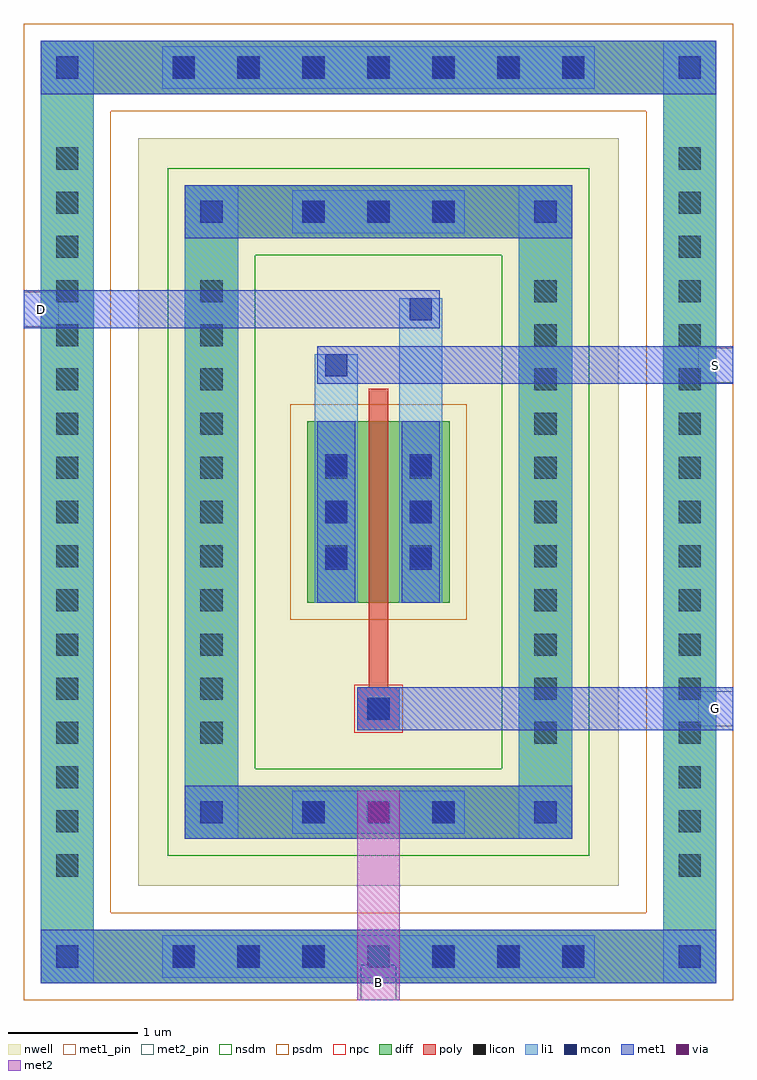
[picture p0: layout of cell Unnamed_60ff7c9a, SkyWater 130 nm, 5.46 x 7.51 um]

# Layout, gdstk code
import gdstk
lib = gdstk.Library(unit=1e-6, precision=5e-09)
def R(c, l, rs):  # rectangles x0, y0, x1, y1
    for r in rs: c.add(gdstk.rectangle(r[:2], r[2:], *l))
def A(c, l, x, y, w, h, nx, ny, dx, dy):  # array of equal rectangles
    R(c, l, [(x+i*dx, y+j*dy, x+i*dx+w, y+j*dy+h) for i in range(nx) for j in range(ny)])
def P(c, l, *ps):  # polygons
    for p in ps: c.add(gdstk.Polygon(p, *l))
nwell = (64, 20)
diff = (65, 20)
poly = (66, 20)
licon = (66, 44)
li1 = (67, 20)
mcon = (67, 44)
met1_pin = (68, 16)
met1 = (68, 20)
via = (68, 44)
met2_pin = (69, 16)
met2 = (69, 20)
nsdm = (93, 44)
psdm = (94, 20)
npc = (95, 20)

unnamed_60ff7c9a = lib.new_cell('Unnamed_60ff7c9a')
R(unnamed_60ff7c9a, nwell, [(-1.85,-2.875,1.85,2.875), (-1.67,-2.695,1.67,2.695)])
A(unnamed_60ff7c9a, diff, -1.705, -3.625, 0.41, 0.41, 7, 2, 0.5, 6.84)
A(unnamed_60ff7c9a, diff, -2.6, -2.925, 0.41, 0.41, 1, 17, 0, 0.34)
A(unnamed_60ff7c9a, diff, 2.19, -2.925, 0.41, 0.41, 1, 17, 0, 0.34)
A(unnamed_60ff7c9a, diff, -0.705, -2.515, 0.41, 0.41, 3, 2, 0.5, 4.62)
A(unnamed_60ff7c9a, diff, -1.49, -1.905, 0.41, 0.41, 1, 11, 0, 0.34)
A(unnamed_60ff7c9a, diff, 1.08, -1.905, 0.41, 0.41, 1, 11, 0, 0.34)
R(unnamed_60ff7c9a, diff, [(-1.705,-3.625,1.705,-3.215), (-2.6,-2.925,-2.19,2.925), (2.19,-2.925,2.6,2.925), (-0.705,-2.515,0.705,-2.105), (-1.49,-1.905,-1.08,1.905), (1.08,-1.905,1.49,1.905), (-0.55,-0.7,0.55,0.7), (-0.705,2.105,0.705,2.515), (-1.705,3.215,1.705,3.625)])
P(unnamed_60ff7c9a, diff, [(2.6,3.625),(-2.6,3.625),(-2.6,-3.215),(-2.19,-3.215),(-2.19,3.215),(2.19,3.215),(2.19,-3.215),(-2.19,-3.215),(-2.6,-3.215),(-2.6,-3.625),(2.6,-3.625)],
  [(1.49,2.515),(-1.49,2.515),(-1.49,-2.105),(-1.08,-2.105),(-1.08,2.105),(1.08,2.105),(1.08,-2.105),(-1.08,-2.105),(-1.49,-2.105),(-1.49,-2.515),(1.49,-2.515)])
R(unnamed_60ff7c9a, poly, [(-0.165,-1.68,0.165,-1.35), (-0.165,-1.68,0.165,-1.35), (-0.075,-1.35,0.075,-0.95), (-0.075,-0.95,0.075,0.95)])
A(unnamed_60ff7c9a, licon, -1.585, -3.505, 0.17, 0.17, 7, 2, 0.5, 6.84)
A(unnamed_60ff7c9a, licon, -2.48, -2.805, 0.17, 0.17, 1, 17, 0, 0.34)
A(unnamed_60ff7c9a, licon, 2.31, -2.805, 0.17, 0.17, 1, 17, 0, 0.34)
A(unnamed_60ff7c9a, licon, -0.585, -2.395, 0.17, 0.17, 3, 2, 0.5, 4.62)
A(unnamed_60ff7c9a, licon, -1.37, -1.785, 0.17, 0.17, 1, 11, 0, 0.34)
A(unnamed_60ff7c9a, licon, 1.2, -1.785, 0.17, 0.17, 1, 11, 0, 0.34)
A(unnamed_60ff7c9a, licon, -0.41, -0.425, 0.17, 0.17, 1, 3, 0, 0.34)
A(unnamed_60ff7c9a, licon, 0.24, -0.425, 0.17, 0.17, 1, 3, 0, 0.34)
R(unnamed_60ff7c9a, licon, [(-0.085,-1.6,0.085,-1.43)])
A(unnamed_60ff7c9a, li1, -1.665, -3.585, 0.33, 0.33, 7, 2, 0.5, 6.84)
A(unnamed_60ff7c9a, li1, -2.56, -2.885, 0.33, 0.33, 1, 17, 0, 0.34)
A(unnamed_60ff7c9a, li1, 2.23, -2.885, 0.33, 0.33, 1, 17, 0, 0.34)
A(unnamed_60ff7c9a, li1, -0.665, -2.475, 0.33, 0.33, 3, 2, 0.5, 4.62)
A(unnamed_60ff7c9a, li1, -1.45, -1.865, 0.33, 0.33, 1, 11, 0, 0.34)
A(unnamed_60ff7c9a, li1, 1.12, -1.865, 0.33, 0.33, 1, 11, 0, 0.34)
A(unnamed_60ff7c9a, li1, -0.49, -0.505, 0.33, 0.33, 1, 3, 0, 0.34)
A(unnamed_60ff7c9a, li1, 0.16, -0.505, 0.33, 0.33, 1, 3, 0, 0.34)
A(unnamed_60ff7c9a, li1, -0.41, -0.445, 0.17, 0.17, 1, 3, 0, 0.36)
A(unnamed_60ff7c9a, li1, 0.24, -0.445, 0.17, 0.17, 1, 3, 0, 0.36)
R(unnamed_60ff7c9a, li1, [(-2.6,-3.625,-2.19,-3.215), (2.19,-3.625,2.6,-3.215), (-1.665,-3.585,1.665,-3.255), (-2.48,-3.505,-2.31,-3.335), (-2.48,-3.505,-2.31,-3.335), (2.31,-3.505,2.48,-3.335), (2.31,-3.505,2.48,-3.335), (-2.6,-3.215,-2.19,3.215), (2.19,-3.215,2.6,3.215), (-1.49,-2.515,-1.08,-2.105), (1.08,-2.515,1.49,-2.105), (-0.665,-2.475,0.665,-2.145), (-1.37,-2.395,-1.2,-2.225), (-1.37,-2.395,-1.2,-2.225), (1.2,-2.395,1.37,-2.225), (1.2,-2.395,1.37,-2.225), (-1.49,-2.105,-1.08,2.105), (1.08,-2.105,1.49,2.105), (-0.165,-1.68,0.165,-1.35), (-0.49,-0.7,-0.16,0.7), (0.16,-0.7,0.49,0.7), (-0.41,-0.445,-0.24,0.445), (0.24,-0.445,0.41,0.445), (-0.49,0.7,-0.16,1.215), (0.16,0.7,0.49,1.645), (-0.41,1.045,-0.24,1.215), (0.24,1.475,0.41,1.645), (-1.49,2.105,-1.08,2.515), (1.08,2.105,1.49,2.515), (-0.665,2.145,0.665,2.475), (-1.37,2.225,-1.2,2.395), (-1.37,2.225,-1.2,2.395), (1.2,2.225,1.37,2.395), (1.2,2.225,1.37,2.395), (-2.6,3.215,-2.19,3.625), (2.19,3.215,2.6,3.625), (-1.665,3.255,1.665,3.585), (-2.48,3.335,-2.31,3.505), (-2.48,3.335,-2.31,3.505), (2.31,3.335,2.48,3.505), (2.31,3.335,2.48,3.505)])
A(unnamed_60ff7c9a, mcon, -1.585, -3.505, 0.17, 0.17, 7, 2, 0.5, 6.84)
A(unnamed_60ff7c9a, mcon, -0.585, -2.395, 0.17, 0.17, 3, 2, 0.5, 4.62)
A(unnamed_60ff7c9a, mcon, -0.41, -0.445, 0.17, 0.17, 1, 3, 0, 0.36)
A(unnamed_60ff7c9a, mcon, 0.24, -0.445, 0.17, 0.17, 1, 3, 0, 0.36)
R(unnamed_60ff7c9a, mcon, [(-2.48,-3.505,-2.31,-3.335), (2.31,-3.505,2.48,-3.335), (-1.37,-2.395,-1.2,-2.225), (1.2,-2.395,1.37,-2.225), (-0.085,-1.6,0.085,-1.43), (-0.41,1.045,-0.24,1.215), (0.24,1.475,0.41,1.645), (-1.37,2.225,-1.2,2.395), (1.2,2.225,1.37,2.395), (-2.48,3.335,-2.31,3.505), (2.31,3.335,2.48,3.505)])
R(unnamed_60ff7c9a, met1_pin, [(2.46,-1.65,2.73,-1.38), (2.46,0.995,2.73,1.265), (-2.73,1.425,-2.46,1.695)])
A(unnamed_60ff7c9a, met1, -1.645, -3.565, 0.29, 0.29, 7, 2, 0.5, 6.84)
A(unnamed_60ff7c9a, met1, -0.645, -2.455, 0.29, 0.29, 3, 2, 0.5, 4.62)
A(unnamed_60ff7c9a, met1, -0.47, -0.505, 0.29, 0.29, 1, 3, 0, 0.36)
A(unnamed_60ff7c9a, met1, 0.18, -0.505, 0.29, 0.29, 1, 3, 0, 0.36)
R(unnamed_60ff7c9a, met1, [(-2.6,-3.625,-2.19,-3.215), (-2.6,-3.625,-2.19,-3.215), (-2.19,-3.625,2.19,-3.215), (2.19,-3.625,2.6,-3.215), (2.19,-3.625,2.6,-3.215), (-2.54,-3.565,-2.25,-3.275), (2.25,-3.565,2.54,-3.275), (-1.49,-2.515,-1.08,-2.105), (-1.49,-2.515,-1.08,-2.105), (-1.08,-2.515,1.08,-2.105), (1.08,-2.515,1.49,-2.105), (1.08,-2.515,1.49,-2.105), (-1.43,-2.455,-1.14,-2.165), (1.14,-2.455,1.43,-2.165), (-0.165,-1.68,0.165,-1.35), (0.165,-1.68,2.73,-1.35), (-0.145,-1.66,0.145,-1.37), (-0.47,-0.7,-0.18,0.7), (0.18,-0.7,0.47,0.7), (-0.47,0.985,-0.18,1.275), (-0.47,0.985,0.47,1.275), (0.47,0.985,2.73,1.275), (-2.73,1.415,-0.47,1.705), (-0.47,1.415,0.47,1.705), (0.18,1.415,0.47,1.705), (-1.49,2.105,-1.08,2.515), (-1.49,2.105,-1.08,2.515), (-1.08,2.105,1.08,2.515), (1.08,2.105,1.49,2.515), (1.08,2.105,1.49,2.515), (-1.43,2.165,-1.14,2.455), (1.14,2.165,1.43,2.455), (-2.6,3.215,-2.19,3.625), (-2.6,3.215,-2.19,3.625), (-2.19,3.215,2.19,3.625), (2.19,3.215,2.6,3.625), (2.19,3.215,2.6,3.625), (-2.54,3.275,-2.25,3.565), (2.25,3.275,2.54,3.565)])
R(unnamed_60ff7c9a, via, [(-0.075,-2.385,0.075,-2.235)])
R(unnamed_60ff7c9a, met2_pin, [(-0.135,-3.755,0.135,-3.485)])
R(unnamed_60ff7c9a, met2, [(-0.165,-3.755,0.165,-2.145), (-0.165,-2.475,0.165,-2.145)])
P(unnamed_60ff7c9a, nsdm, [(1.62,2.645),(-1.62,2.645),(-1.62,-1.975),(-0.95,-1.975),(-0.95,1.975),(0.95,1.975),(0.95,-1.975),(-0.95,-1.975),(-1.62,-1.975),(-1.62,-2.645),(1.62,-2.645)])
R(unnamed_60ff7c9a, psdm, [(-0.68,-0.83,0.68,0.83)])
P(unnamed_60ff7c9a, psdm, [(2.73,3.755),(-2.73,3.755),(-2.73,-3.085),(-2.06,-3.085),(-2.06,3.085),(2.06,3.085),(2.06,-3.085),(-2.06,-3.085),(-2.73,-3.085),(-2.73,-3.755),(2.73,-3.755)])
R(unnamed_60ff7c9a, npc, [(-0.185,-1.7,0.185,-1.33), (-0.185,-1.7,0.185,-1.33)])
unnamed_60ff7c9a.add(gdstk.Label('D', (-2.595,1.56), layer=68, texttype=5))
unnamed_60ff7c9a.add(gdstk.Label('S', (2.595,1.13), layer=68, texttype=5))
unnamed_60ff7c9a.add(gdstk.Label('G', (2.595,-1.515), layer=68, texttype=5))
unnamed_60ff7c9a.add(gdstk.Label('B', (0,-3.62), layer=69, texttype=5))

lib.write_gds('Unnamed_60ff7c9a.gds')
